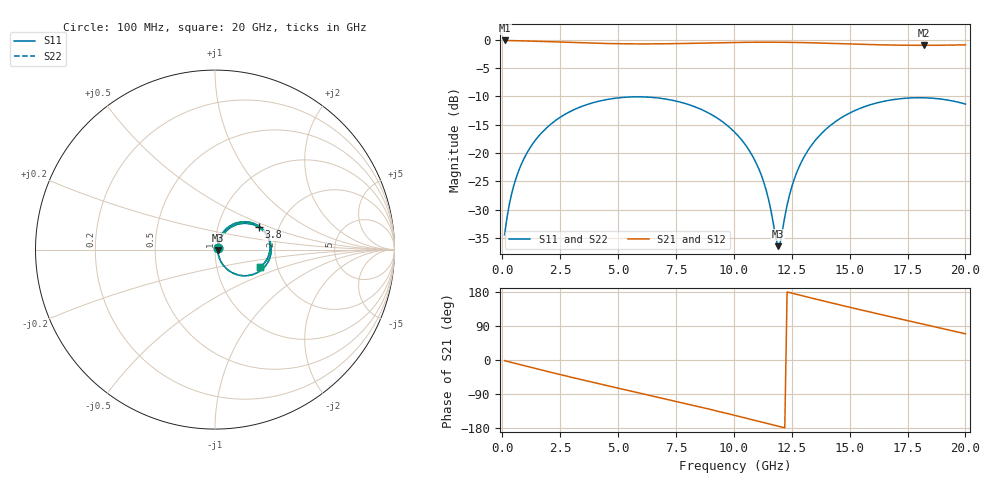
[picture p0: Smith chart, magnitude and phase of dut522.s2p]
! Touchstone file exported from HFSS 2026.1.0
!  File:  C:/ffzhzh/LocalFiles/Ansys_Project_Files/temp_train_TSV_RDL_522_1783110557_50312.aedt
!  Generated:  04:41:18 AM Jul  4, 2026
!  Design:  TSV_RDL
!  Project:  temp_train_TSV_RDL_522_1783110557_50312
! Variables:
!  h_bsmrdl = 3.15um
!  h_ox = 20um
!  h_rdl = 5um
!  h_sub = 84.36um
!  h_tmrdl = 5.78um
!  h_tsv = 84.36um
!  h_via = 3um
!  l_bsmrdl = 474.22um
!  l_sub = 4852.03um
!  l_tmrdl = 721.32um
!  m_sub = 200um
!  pitch = 41.34um
!  r_tsv = 12.91um
!  s_tmrdl = 10um
!  w_bsmrdl = 22.67um
!  w_sub = 500um
!  w_tmrdl = 25.36um
!  x_tsv_center1 = 734um
!  x_tsv_center2 = 1230.89um
!  x_tsv_center3 = 1977.57um
!  x_tsv_center4 = 2474.46um
!  x_tsv_center5 = 3221.14um
!  x_tsv_center6 = 3718.03um
# GHz S MA R 50.000000
! Terminal data exported
! Port[1] = TM_RDL1_1_T1
! Port[2] = TM_RDL5_1_T1
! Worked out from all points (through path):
!   200 points, 100 MHz to 20 GHz, reference 50 ohm
!   highest |S21| = -0.14 dB at 100 MHz (marker M1); lowest = -1.0 dB at 18.2 GHz (marker M2)
!   group delay of S21, straight-line fit = 40.4 ps
!   lowest |S11| = -36.5 dB at 11.9 GHz (marker M3), VSWR 1.03, Z = 51.5 - j0.176 ohm
!   |S11| at or under -10 dB: start of sweep to end of sweep
!   |S22| runs from -36.4 to -10.1 dB; largest |S21 - S12| = 2.1e-14
!   S11 on the Smith chart (normalised r, x): 100 MHz: 1.03, +0.02; 3.8 GHz: 1.57, +0.43; 20 GHz: 1.63, -0.34
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0.1  0.01893 33.9  0.9845 -1.7  0.9845 -1.7  0.01893 33.9
! Gamma 0 0 0 0
! Port Impedance 50 0 50 0
0.3  0.03488 55.1  0.9821 -4.9  0.9821 -4.9  0.03488 55.1
0.5  0.05183 60.8  0.9801 -8.0  0.9801 -8.0  0.05183 60.8
1.2  0.1111 60.0  0.9725 -18.9  0.9725 -18.9  0.1111 60.0
2.2  0.1869 48.6  0.9578 -34.0  0.9578 -34.0  0.1869 48.6
3.5  0.2606 31.3  0.9374 -53.0  0.9374 -53.0  0.2606 31.3
3.8  0.2732 27.3  0.9334 -57.3  0.9334 -57.3  0.2732 27.3
5.3  0.3103 7.4  0.9197 -78.3  0.9197 -78.3  0.3103 7.4
6.8  0.3045 -12.3  0.9192 -99.2  0.9192 -99.2  0.3045 -12.3
8.5  0.2468 -34.9  0.9317 -123.4  0.9317 -123.4  0.2468 -34.9
10.1  0.1479 -55.4  0.946 -147.0  0.946 -147.0  0.1478 -55.4
11.2  0.06257 -63.6  0.9507 -163.7  0.9507 -163.7  0.06258 -63.5
11.5  0.03881 -59.3  0.9508 -168.3  0.9508 -168.3  0.03885 -59.1
11.9  0.01503 -6.5  0.95 -174.4  0.95 -174.4  0.01517 -6.4
12  0.01606 23.1  0.9496 -175.9  0.9496 -175.9  0.0162 23.0
12.3  0.03457 60.9  0.9481 179.5  0.9481 179.5  0.03466 60.7
12.6  0.05798 67.1  0.9461 174.9  0.9461 174.9  0.05804 66.9
13.4  0.1204 63.1  0.9382 162.8  0.9382 162.8  0.1204 63.0
14.8  0.2139 46.3  0.9197 142.1  0.9197 142.1  0.2139 46.2
16.7  0.2916 21.6  0.8976 115.1  0.8976 115.1  0.2916 21.5
18.2  0.307 2.2  0.8917 94.3  0.8917 94.3  0.307 2.2
20  0.2702 -21.1  0.9003 69.2  0.9003 69.2  0.2702 -21.0
